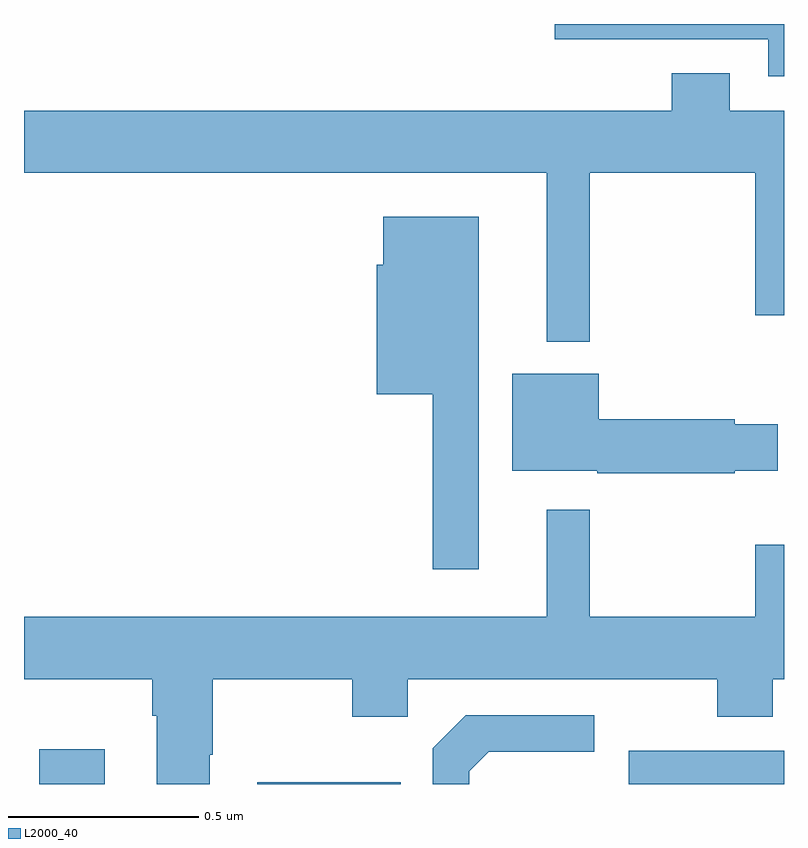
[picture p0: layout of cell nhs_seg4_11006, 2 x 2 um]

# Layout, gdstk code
import gdstk
lib = gdstk.Library(unit=1e-6, precision=1e-09)
def R(c, l, rs):  # rectangles x0, y0, x1, y1
    for r in rs: c.add(gdstk.rectangle(r[:2], r[2:], *l))
def P(c, l, *ps):  # polygons
    for p in ps: c.add(gdstk.Polygon(p, *l))
L2000_40 = (2000, 40)

nhs_seg4_11006 = lib.new_cell('nhs_seg4_11006')
R(nhs_seg4_11006, L2000_40, [(247.04,773.9,247.213,773.992), (247.614,773.9,247.991,773.905), (248.592,773.9,249,773.988)])
P(nhs_seg4_11006, L2000_40, [(249,775.9),(248.397,775.9),(248.397,775.86),(248.958,775.86),(248.958,775.763),(249,775.763)],
  [(248.489,775.508),(248.924,775.508),(248.924,775.134),(249,775.134),(249,775.672),(248.857,775.672),(248.857,775.771),(248.705,775.771),(248.705,775.672),(247,775.672),(247,775.508),(248.375,775.508),(248.375,775.064),(248.489,775.064)],
  [(248.197,775.393),(247.946,775.393),(247.946,775.266),(247.928,775.266),(247.928,774.926),(248.076,774.926),(248.076,774.465),(248.197,774.465)],
  [(248.87,774.725),(248.983,774.725),(248.983,774.847),(248.87,774.847),(248.87,774.86),(248.512,774.86),(248.512,774.979),(248.285,774.979),(248.285,774.725),(248.508,774.725),(248.508,774.718),(248.87,774.718)],
  [(247.489,773.977),(247.497,773.977),(247.497,774.176),(247.864,774.176),(247.864,774.077),(248.01,774.077),(248.01,774.176),(248.824,774.176),(248.824,774.077),(248.971,774.077),(248.971,774.176),(249,774.176),(249,774.529),(248.924,774.529),(248.924,774.34),(248.489,774.34),(248.489,774.622),(248.375,774.622),(248.375,774.34),(247,774.34),(247,774.176),(247.337,774.176),(247.337,774.08),(247.349,774.08),(247.349,773.9),(247.489,773.9)],
  [(248.172,773.934),(248.223,773.985),(248.5,773.985),(248.5,774.081),(248.163,774.081),(248.076,773.994),(248.076,773.9),(248.172,773.9)])

lib.write_gds('nhs_seg4_11006.gds')
